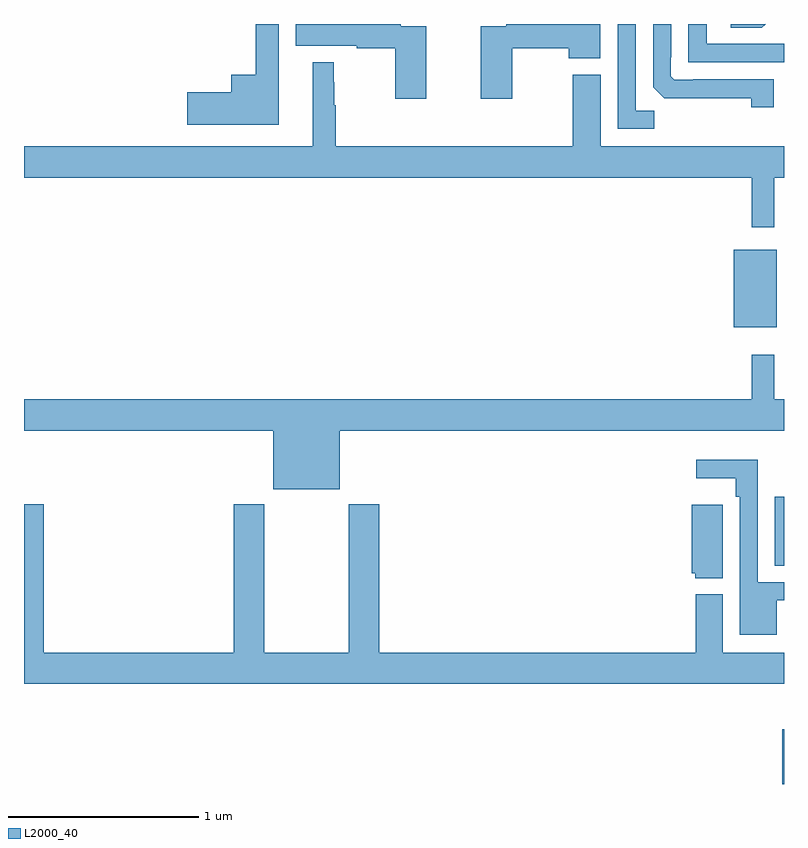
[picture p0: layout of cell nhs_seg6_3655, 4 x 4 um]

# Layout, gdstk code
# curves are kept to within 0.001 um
import gdstk
lib = gdstk.Library(unit=1e-6, precision=1e-09)
def R(c, l, rs):  # rectangles x0, y0, x1, y1
    for r in rs: c.add(gdstk.rectangle(r[:2], r[2:], *l))
def P(c, l, *ps):  # polygons
    for p in ps: c.add(gdstk.Polygon(p, *l))
L2000_40 = (2000, 40)

nhs_seg6_3655 = lib.new_cell('nhs_seg6_3655')
R(nhs_seg6_3655, L2000_40, [(328.99,921.5,329,921.787), (328.952,922.648,329,923.011), (328.736,923.903,328.963,924.313)])
P(nhs_seg6_3655, L2000_40, [(328.903,925.5),(328.719,925.5),(328.719,925.48),(328.883,925.48)],
  [(326.341,925.5),(326.22,925.5),(326.22,925.234),(326.09,925.234),(326.09,925.142),(325.86,925.142),(325.86,924.971),(326.341,924.971)],
  [(328.317,925.043),(328.221,925.043),(328.221,925.5),(328.125,925.5),(328.125,924.948),(328.317,924.948)],
  [(328.946,925.209),(328.522,925.209),(328.522,925.206),(328.422,925.206),(328.404,925.224),(328.404,925.324),(328.407,925.324),(328.407,925.5),(328.311,925.5),(328.311,925.168),(328.37,925.109),(328.828,925.108),(328.828,925.062),(328.946,925.062)],
  [(327.118,925.488),(326.984,925.488),(326.984,925.5),(326.429,925.5),(326.429,925.385),(326.752,925.385),(326.752,925.372),(326.953,925.372),(326.953,925.107),(327.118,925.107)],
  [(327.57,925.372),(327.866,925.372),(327.866,925.319),(328.033,925.319),(328.033,925.5),(327.538,925.5),(327.538,925.488),(327.404,925.488),(327.404,925.107),(327.57,925.107)],
  [(329,925.395),(328.593,925.395),(328.593,925.5),(328.497,925.5),(328.497,925.299),(329,925.299)],
  [(328.949,924.692),(329,924.692),(329,924.856),(328.036,924.856),(328.036,925.234),(327.889,925.234),(327.889,924.856),(326.641,924.856),(326.641,925.073),(326.633,925.073),(326.633,925.193),(326.63,925.193),(326.63,925.3),(326.519,925.3),(326.519,924.856),(325,924.856),(325,924.692),(328.831,924.692),(328.831,924.429),(328.949,924.429)],
  [(326.662,923.36),(329,923.36),(329,923.524),(328.949,923.524),(328.949,923.758),(328.831,923.758),(328.831,923.524),(325,923.524),(325,923.36),(326.312,923.36),(326.312,923.051),(326.662,923.051)],
  [(328.963,922.467),(329,922.467),(329,922.563),(328.863,922.563),(328.863,923.206),(328.539,923.206),(328.539,923.108),(328.747,923.108),(328.747,923.012),(328.767,923.012),(328.767,922.286),(328.963,922.286)],
  [(329,922.192),(328.678,922.192),(328.678,922.498),(328.535,922.498),(328.535,922.192),(326.87,922.192),(326.87,922.972),(326.71,922.972),(326.71,922.192),(326.265,922.192),(326.265,922.972),(326.105,922.972),(326.105,922.192),(325.103,922.192),(325.103,922.972),(325,922.972),(325,922.028),(329,922.028)],
  [(328.678,922.969),(328.514,922.969),(328.514,922.608),(328.533,922.608),(328.533,922.583),(328.678,922.583)])

lib.write_gds('nhs_seg6_3655.gds')
